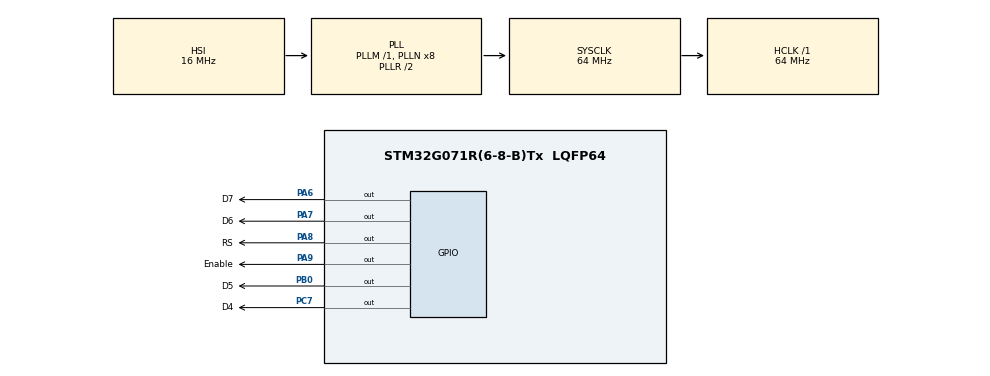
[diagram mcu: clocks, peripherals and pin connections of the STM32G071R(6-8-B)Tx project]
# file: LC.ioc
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Mcu.Family=STM32G0
Mcu.Name=STM32G071R(6-8-B)Tx
Mcu.Package=LQFP64
PA13.GPIO_Label=TMS
PA13.Mode=Serial_Wire
PA13.Signal=SYS_SWDIO
PA14-BOOT0.GPIO_Label=TCK
PA14-BOOT0.Mode=Serial_Wire
PA14-BOOT0.Signal=SYS_SWCLK
PA6.GPIO_Label=D7
PA6.Signal=GPIO_Output
PA7.GPIO_Label=D6
PA7.Signal=GPIO_Output
PA8.GPIO_Label=RS
PA8.Signal=GPIO_Output
PA9.GPIO_Label=Enable
PA9.Signal=GPIO_Output
PB0.GPIO_Label=D5
PB0.Signal=GPIO_Output
PC13.Mode=SYS_WakeUp1
PC13.Signal=SYS_WKUP2
PC14-OSC32_IN\ (PC14).Signal=RCC_OSC32_IN
PC15-OSC32_OUT\ (PC15).Signal=RCC_OSC32_OUT
PC7.GPIO_Label=D4
PC7.Signal=GPIO_Output
PF0-OSC_IN\ (PF0).GPIO_Label=MCO
PF0-OSC_IN\ (PF0).Mode=HSE-External-Oscillator
PF0-OSC_IN\ (PF0).Signal=RCC_OSC_IN
PF1-OSC_OUT\ (PF1).Mode=HSE-External-Oscillator
PF1-OSC_OUT\ (PF1).Signal=RCC_OSC_OUT
ProjectManager.HeapSize=0x200
ProjectManager.StackSize=0x400
ProjectManager.TargetToolchain=STM32CubeIDE
RCC.ADCFreq_Value=64000000
RCC.AHBFreq_Value=64000000
RCC.CortexFreq_Value=64000000
RCC.EXTERNAL_CLOCK_VALUE=12288000
RCC.HCLKFreq_Value=64000000
RCC.HSE_VALUE=8000000
RCC.HSI_VALUE=16000000
RCC.SYSCLKFreq_VALUE=64000000
RCC.SYSCLKSource=RCC_SYSCLKSOURCE_PLLCLK
RCC.VCOOutputFreq_Value=128000000
TIM3.Prescaler=64-1
VP_TIM3_VS_ClockSourceINT.Mode=Internal
board=NUCLEO-G071RB

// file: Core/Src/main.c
/* USER CODE BEGIN Header */
/**
  ******************************************************************************
  * @file           : main.c
  * @brief          : Main program body
  ******************************************************************************
  * @attention
  *
  * Copyright (c) 2022 STMicroelectronics.
  * All rights reserved.
  *
  * This software is licensed under terms that can be found in the LICENSE file
  * in the root directory of this software component.
  * If no LICENSE file comes with this software, it is provided AS-IS.
  *
  ******************************************************************************
  */
/* USER CODE END Header */
#include "main.h"

/* USER CODE BEGIN Includes */
#include "lcd.h"
/* USER CODE END Includes */

TIM_HandleTypeDef htim3;

void SystemClock_Config(void);
static void MX_GPIO_Init(void);
static void MX_TIM3_Init(void);

/* USER CODE BEGIN 0 */

uint8_t Rh_byte1, Rh_byte2, Temp_byte1, Temp_byte2;
uint16_t SUM, RH, TEMP;

float Temperature = 0;
float Humidity = 0;
uint8_t Presence = 0;

void delay (uint16_t delay){
  __HAL_TIM_SET_COUNTER(&htim3, 0);
  while (__HAL_TIM_GET_COUNTER(&htim3) < delay);
}

void Set_Pin_Output(GPIO_TypeDef *GPIOx,uint16_t GPIO_Pin){
	GPIO_InitTypeDef GPIO_InitStruct = {0};
	GPIO_InitStruct.Pin = GPIO_Pin;
	GPIO_InitStruct.Mode = GPIO_MODE_OUTPUT_PP;
	GPIO_InitStruct.Speed = GPIO_SPEED_FREQ_LOW;
	HAL_GPIO_Init(GPIOx,&GPIO_InitStruct);
}

void Set_Pin_Input(GPIO_TypeDef *GPIOx,uint16_t GPIO_Pin){
	GPIO_InitTypeDef GPIO_InitStruct = {0};
	GPIO_InitStruct.Pin = GPIO_Pin;
	GPIO_InitStruct.Mode = GPIO_MODE_INPUT;
	GPIO_InitStruct.Pull = GPIO_PULLUP;
	HAL_GPIO_Init(GPIOx, &GPIO_InitStruct);
}

void DHT11_Start (void)
{
	Set_Pin_Output (GPIOD, GPIO_PIN_0);  // set the pin as output
	HAL_GPIO_WritePin (GPIOD, GPIO_PIN_0,GPIO_PIN_RESET);   // pull the pin low
	HAL_Delay(18);   // wait for 18ms
	Set_Pin_Input(GPIOD,GPIO_PIN_0);    // set as input
}

uint8_t Check_Response (void)
{
	uint8_t Response = 0;
	delay (40);
	if (!(HAL_GPIO_ReadPin (GPIOD, GPIO_PIN_0)))
	{
		delay (80);
		if ((HAL_GPIO_ReadPin (GPIOD, GPIO_PIN_0))) Response = 1;
		else Response = -1;
	}
	while ((HAL_GPIO_ReadPin (GPIOD, GPIO_PIN_0)));   // wait for the pin to go low

	return Response;
}
uint8_t DHT11_Read (void)
{
	uint8_t i,j;
	for (j=0;j<8;j++)
	{
		while (!(HAL_GPIO_ReadPin (GPIOD, GPIO_PIN_0)));   // wait for the pin to go high
		delay (40);   // wait for 40 us
		if (!(HAL_GPIO_ReadPin (GPIOD, GPIO_PIN_0)))   // if the pin is low
		{
			i&= ~(1<<(7-j));   // write 0
		}
		else i|= (1<<(7-j));  // if the pin is high, write 1
		while ((HAL_GPIO_ReadPin (GPIOD, GPIO_PIN_0)));  // wait for the pin to go low
	}
	return i;
}
/* USER CODE END 0 */

int main(void)
{

  /* MCU Configuration--------------------------------------------------------*/

  /* Reset of all peripherals, Initializes the Flash interface and the Systick. */
  HAL_Init();

  /* Configure the system clock */
  SystemClock_Config();

  /* Initialize all configured peripherals */
  MX_GPIO_Init();
  MX_TIM3_Init();
  /* USER CODE BEGIN 2 */
  HAL_TIM_Base_Start(&htim3);
  Lcd_PortType ports[] = { GPIOC, GPIOB, GPIOA, GPIOA };
  // Lcd_PinType pins[] = {D4_Pin, D5_Pin, D6_Pin, D7_Pin};
  Lcd_PinType pins[] = {GPIO_PIN_7, GPIO_PIN_0, GPIO_PIN_7, GPIO_PIN_6};
  Lcd_HandleTypeDef lcd;
  // Lcd_create(ports, pins, RS_GPIO_Port, RS_Pin, EN_GPIO_Port, EN_Pin, LCD_4_BIT_MODE);
  lcd = Lcd_create(ports, pins, GPIOA, GPIO_PIN_8, GPIOA, GPIO_PIN_9, LCD_4_BIT_MODE);
  Lcd_cursor(&lcd, 0,1);

  Lcd_string(&lcd, "AMOGUS!");
  Lcd_cursor(&lcd, 1,0);
  /* USER CODE END 2 */

  /* Infinite loop */
  /* USER CODE BEGIN WHILE */
  while (1)
  {
	  DHT11_Start();
	  Presence = Check_Response();
	  Rh_byte1 = DHT11_Read();
	  Rh_byte2 = DHT11_Read();
	  Temp_byte1 = DHT11_Read();
	  Temp_byte2 = DHT11_Read();
	  SUM = DHT11_Read();

	  TEMP = Temp_byte1;
	  Lcd_int(&lcd,TEMP);
    /* USER CODE END WHILE */

  }
}

void SystemClock_Config(void)
{
  RCC_OscInitTypeDef RCC_OscInitStruct = {0};
  RCC_ClkInitTypeDef RCC_ClkInitStruct = {0};

  /** Configure the main internal regulator output voltage
  */
  HAL_PWREx_ControlVoltageScaling(PWR_REGULATOR_VOLTAGE_SCALE1);

  /** Initializes the RCC Oscillators according to the specified parameters
  * in the RCC_OscInitTypeDef structure.
  */
  RCC_OscInitStruct.OscillatorType = RCC_OSCILLATORTYPE_HSI;
  RCC_OscInitStruct.HSIState = RCC_HSI_ON;
  RCC_OscInitStruct.HSIDiv = RCC_HSI_DIV1;
  RCC_OscInitStruct.HSICalibrationValue = RCC_HSICALIBRATION_DEFAULT;
  RCC_OscInitStruct.PLL.PLLState = RCC_PLL_ON;
  RCC_OscInitStruct.PLL.PLLSource = RCC_PLLSOURCE_HSI;
  RCC_OscInitStruct.PLL.PLLM = RCC_PLLM_DIV1;
  RCC_OscInitStruct.PLL.PLLN = 8;
  RCC_OscInitStruct.PLL.PLLP = RCC_PLLP_DIV2;
  RCC_OscInitStruct.PLL.PLLQ = RCC_PLLQ_DIV2;
  RCC_OscInitStruct.PLL.PLLR = RCC_PLLR_DIV2;
  if (HAL_RCC_OscConfig(&RCC_OscInitStruct) != HAL_OK)
  {
    Error_Handler();
  }

  /** Initializes the CPU, AHB and APB buses clocks
  */
  RCC_ClkInitStruct.ClockType = RCC_CLOCKTYPE_HCLK|RCC_CLOCKTYPE_SYSCLK
                              |RCC_CLOCKTYPE_PCLK1;
  RCC_ClkInitStruct.SYSCLKSource = RCC_SYSCLKSOURCE_PLLCLK;
  RCC_ClkInitStruct.AHBCLKDivider = RCC_SYSCLK_DIV1;
  RCC_ClkInitStruct.APB1CLKDivider = RCC_HCLK_DIV1;

  if (HAL_RCC_ClockConfig(&RCC_ClkInitStruct, FLASH_LATENCY_2) != HAL_OK)
  {
    Error_Handler();
  }
}

static void MX_TIM3_Init(void)
{

  TIM_ClockConfigTypeDef sClockSourceConfig = {0};
  TIM_MasterConfigTypeDef sMasterConfig = {0};

  htim3.Instance = TIM3;
  htim3.Init.Prescaler = 64-1;
  htim3.Init.CounterMode = TIM_COUNTERMODE_UP;
  htim3.Init.Period = 65535;
  htim3.Init.ClockDivision = TIM_CLOCKDIVISION_DIV1;
  htim3.Init.AutoReloadPreload = TIM_AUTORELOAD_PRELOAD_DISABLE;
  if (HAL_TIM_Base_Init(&htim3) != HAL_OK)
  {
    Error_Handler();
  }
  sClockSourceConfig.ClockSource = TIM_CLOCKSOURCE_INTERNAL;
  if (HAL_TIM_ConfigClockSource(&htim3, &sClockSourceConfig) != HAL_OK)
  {
    Error_Handler();
  }
  sMasterConfig.MasterOutputTrigger = TIM_TRGO_RESET;
  sMasterConfig.MasterSlaveMode = TIM_MASTERSLAVEMODE_DISABLE;
  if (HAL_TIMEx_MasterConfigSynchronization(&htim3, &sMasterConfig) != HAL_OK)
  {
    Error_Handler();
  }

}

static void MX_GPIO_Init(void)
{
  GPIO_InitTypeDef GPIO_InitStruct = {0};

  /* GPIO Ports Clock Enable */
  __HAL_RCC_GPIOC_CLK_ENABLE();
  __HAL_RCC_GPIOF_CLK_ENABLE();
  __HAL_RCC_GPIOA_CLK_ENABLE();
  __HAL_RCC_GPIOB_CLK_ENABLE();

  /*Configure GPIO pin Output Level */
  HAL_GPIO_WritePin(GPIOA, D7_Pin|D6_Pin|RS_Pin|Enable_Pin, GPIO_PIN_RESET);

  /*Configure GPIO pin Output Level */
  HAL_GPIO_WritePin(D5_GPIO_Port, D5_Pin, GPIO_PIN_RESET);

  /*Configure GPIO pin Output Level */
  HAL_GPIO_WritePin(D4_GPIO_Port, D4_Pin, GPIO_PIN_RESET);

  /*Configure GPIO pins : D7_Pin D6_Pin RS_Pin Enable_Pin */
  GPIO_InitStruct.Pin = D7_Pin|D6_Pin|RS_Pin|Enable_Pin;
  GPIO_InitStruct.Mode = GPIO_MODE_OUTPUT_PP;
  GPIO_InitStruct.Pull = GPIO_NOPULL;
  GPIO_InitStruct.Speed = GPIO_SPEED_FREQ_LOW;
  HAL_GPIO_Init(GPIOA, &GPIO_InitStruct);

  /*Configure GPIO pin : D5_Pin */
  GPIO_InitStruct.Pin = D5_Pin;
  GPIO_InitStruct.Mode = GPIO_MODE_OUTPUT_PP;
  GPIO_InitStruct.Pull = GPIO_NOPULL;
  GPIO_InitStruct.Speed = GPIO_SPEED_FREQ_LOW;
  HAL_GPIO_Init(D5_GPIO_Port, &GPIO_InitStruct);

  /*Configure GPIO pin : D4_Pin */
  GPIO_InitStruct.Pin = D4_Pin;
  GPIO_InitStruct.Mode = GPIO_MODE_OUTPUT_PP;
  GPIO_InitStruct.Pull = GPIO_NOPULL;
  GPIO_InitStruct.Speed = GPIO_SPEED_FREQ_LOW;
  HAL_GPIO_Init(D4_GPIO_Port, &GPIO_InitStruct);

}

void Error_Handler(void)
{
  __disable_irq();
  while (1)
  {
  }
}
